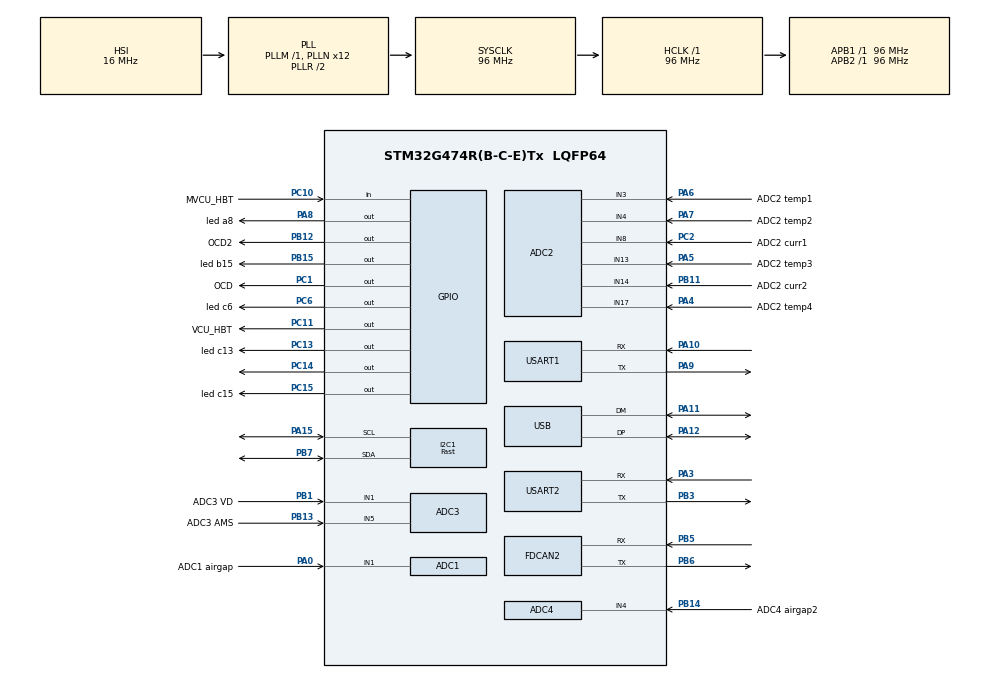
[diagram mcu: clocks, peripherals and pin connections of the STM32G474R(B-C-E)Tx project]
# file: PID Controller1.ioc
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ADC1.Channel-0\#ChannelRegularConversion=ADC_CHANNEL_1
ADC1.ClockPrescaler=ADC_CLOCK_ASYNC_DIV16
ADC1.ContinuousConvMode=ENABLE
ADC1.NbrOfConversion=1
ADC1.NbrOfConversionFlag=1
ADC1.OffsetNumber-0\#ChannelRegularConversion=ADC_OFFSET_NONE
ADC1.OversamplingMode=DISABLE
ADC1.Rank-0\#ChannelRegularConversion=1
ADC1.SamplingTime-0\#ChannelRegularConversion=ADC_SAMPLETIME_2CYCLES_5
ADC1.master=1
ADC2.Channel-0\#ChannelRegularConversion=ADC_CHANNEL_3
ADC2.Channel-1\#ChannelRegularConversion=ADC_CHANNEL_4
ADC2.Channel-2\#ChannelRegularConversion=ADC_CHANNEL_8
ADC2.Channel-3\#ChannelRegularConversion=ADC_CHANNEL_13
ADC2.Channel-4\#ChannelRegularConversion=ADC_CHANNEL_14
ADC2.Channel-5\#ChannelRegularConversion=ADC_CHANNEL_17
ADC2.ClockPrescaler=ADC_CLOCK_ASYNC_DIV16
ADC2.ContinuousConvMode=ENABLE
ADC2.NbrOfConversion=6
ADC2.NbrOfConversionFlag=1
ADC2.OffsetNumber-0\#ChannelRegularConversion=ADC_OFFSET_NONE
ADC2.OffsetNumber-1\#ChannelRegularConversion=ADC_OFFSET_NONE
ADC2.OffsetNumber-2\#ChannelRegularConversion=ADC_OFFSET_NONE
ADC2.OffsetNumber-3\#ChannelRegularConversion=ADC_OFFSET_NONE
ADC2.OffsetNumber-4\#ChannelRegularConversion=ADC_OFFSET_NONE
ADC2.OffsetNumber-5\#ChannelRegularConversion=ADC_OFFSET_NONE
ADC2.Rank-0\#ChannelRegularConversion=1
ADC2.Rank-1\#ChannelRegularConversion=2
ADC2.Rank-2\#ChannelRegularConversion=3
ADC2.Rank-3\#ChannelRegularConversion=4
ADC2.Rank-4\#ChannelRegularConversion=5
ADC2.Rank-5\#ChannelRegularConversion=6
ADC2.SamplingTime-0\#ChannelRegularConversion=ADC_SAMPLETIME_2CYCLES_5
ADC2.SamplingTime-1\#ChannelRegularConversion=ADC_SAMPLETIME_2CYCLES_5
ADC2.SamplingTime-2\#ChannelRegularConversion=ADC_SAMPLETIME_2CYCLES_5
ADC2.SamplingTime-3\#ChannelRegularConversion=ADC_SAMPLETIME_2CYCLES_5
ADC2.SamplingTime-4\#ChannelRegularConversion=ADC_SAMPLETIME_2CYCLES_5
ADC2.SamplingTime-5\#ChannelRegularConversion=ADC_SAMPLETIME_2CYCLES_5
ADC3.Channel-0\#ChannelRegularConversion=ADC_CHANNEL_5
ADC3.ContinuousConvMode=ENABLE
ADC3.NbrOfConversionFlag=1
ADC3.OffsetNumber-0\#ChannelRegularConversion=ADC_OFFSET_NONE
ADC3.Rank-0\#ChannelRegularConversion=1
ADC3.SamplingTime-0\#ChannelRegularConversion=ADC_SAMPLETIME_2CYCLES_5
ADC3.master=1
ADC4.Channel-0\#ChannelRegularConversion=ADC_CHANNEL_4
ADC4.NbrOfConversionFlag=1
ADC4.OffsetNumber-0\#ChannelRegularConversion=ADC_OFFSET_NONE
ADC4.Rank-0\#ChannelRegularConversion=1
ADC4.SamplingTime-0\#ChannelRegularConversion=ADC_SAMPLETIME_2CYCLES_5
FDCAN2.CalculateBaudRateNominal=1200000
FDCAN2.CalculateTimeBitNominal=833
FDCAN2.CalculateTimeQuantumNominal=166.66666666666666
FREERTOS.BinarySemaphores01=myBinarySem01,Dynamic,NULL,Available
FREERTOS.HEAP_NUMBER=5
FREERTOS.Tasks01=one,0,128,_one,Default,NULL,Dynamic,NULL,NULL;two2,0,128,two,Default,NULL,Dynamic,NULL,NULL;three3,-3,128,three,Default,NULL,Dynamic,NULL,NULL
FREERTOS.configTOTAL_HEAP_SIZE=5000
FREERTOS.configUSE_NEWLIB_REENTRANT=1
I2C1.I2C_Speed_Mode=I2C_Fast
I2C1.Timing=0x009032AE
Mcu.Family=STM32G4
Mcu.Name=STM32G474R(B-C-E)Tx
Mcu.Package=LQFP64
NVIC.PriorityGroup=NVIC_PRIORITYGROUP_4
NVIC.TIM1_UP_TIM16_IRQn=true\:15\:0\:false\:false\:true\:false\:false\:true\:true
NVIC.TIM2_IRQn=true\:5\:0\:false\:false\:true\:true\:true\:true\:true
NVIC.TimeBase=TIM1_UP_TIM16_IRQn
NVIC.TimeBaseIP=TIM1
NVIC.USART1_IRQn=true\:5\:0\:false\:false\:true\:true\:true\:true\:true
NVIC.USART2_IRQn=true\:5\:0\:false\:false\:true\:true\:true\:true\:true
PA0.GPIO_Label=ADC1 airgap
PA0.Mode=IN1-Single-Ended
PA0.Signal=ADC1_IN1
PA10.Mode=Asynchronous
PA10.Signal=USART1_RX
PA11.Mode=Device
PA11.Signal=USB_DM
PA12.Mode=Device
PA12.Signal=USB_DP
PA13.GPIO_Label=T_SWDIO
PA13.Mode=Serial_Wire
PA13.Signal=SYS_JTMS-SWDIO
PA14.GPIO_Label=T_SWCLK
PA14.Mode=Serial_Wire
PA14.Signal=SYS_JTCK-SWCLK
PA15.Mode=I2C
PA15.Signal=I2C1_SCL
PA3.Mode=Asynchronous
PA3.Signal=USART2_RX
PA4.GPIO_Label=ADC2 temp4
PA4.Mode=IN17-Single-Ended
PA4.Signal=ADC2_IN17
PA5.GPIO_Label=ADC2 temp3
PA5.Mode=IN13-Single-Ended
PA5.Signal=ADC2_IN13
PA6.GPIO_Label=ADC2 temp1
PA6.Mode=IN3-Single-Ended
PA6.Signal=ADC2_IN3
PA7.GPIO_Label=ADC2 temp2
PA7.Mode=IN4-Single-Ended
PA7.Signal=ADC2_IN4
PA8.GPIO_Label=led a8
PA8.Signal=GPIO_Output
PA9.Mode=Asynchronous
PA9.Signal=USART1_TX
PB1.GPIO_Label=ADC3 VD
PB1.Mode=IN1-Single-Ended
PB1.Signal=ADC3_IN1
PB11.GPIO_Label=ADC2 curr2
PB11.Mode=IN14-Single-Ended
PB11.Signal=ADC2_IN14
PB12.GPIO_Label=OCD2
PB12.Signal=GPIO_Output
PB13.GPIO_Label=ADC3 AMS
PB13.Mode=IN5-Single-Ended
PB13.Signal=ADC3_IN5
PB14.GPIO_Label=ADC4 airgap2
PB14.Mode=IN4-Single-Ended
PB14.Signal=ADC4_IN4
PB15.GPIO_Label=led b15
PB15.Signal=GPIO_Output
PB3.Mode=Asynchronous
PB3.Signal=USART2_TX
PB5.Mode=FDCAN_Activate
PB5.Signal=FDCAN2_RX
PB6.Mode=FDCAN_Activate
PB6.Signal=FDCAN2_TX
PB7.Mode=I2C
PB7.Signal=I2C1_SDA
PC1.GPIO_Label=OCD
PC1.Signal=GPIO_Output
PC10.GPIO_Label=MVCU_HBT
PC10.Signal=GPIO_Input
PC11.GPIO_Label=VCU_HBT
PC11.Signal=GPIO_Output
PC13.GPIO_Label=led c13
PC13.Signal=GPIO_Output
PC14-OSC32_IN.Signal=GPIO_Output
PC15-OSC32_OUT.GPIO_Label=led c15
PC15-OSC32_OUT.Signal=GPIO_Output
PC2.GPIO_Label=ADC2 curr1
PC2.Mode=IN8-Single-Ended
PC2.Signal=ADC2_IN8
PC6.GPIO_Label=led c6
PC6.Signal=GPIO_Output
PF0-OSC_IN.Mode=HSE-External-Oscillator
PF0-OSC_IN.Signal=RCC_OSC_IN
PF1-OSC_OUT.Mode=HSE-External-Oscillator
PF1-OSC_OUT.Signal=RCC_OSC_OUT
ProjectManager.HeapSize=0x200
ProjectManager.StackSize=0x400
ProjectManager.TargetToolchain=STM32CubeIDE
RCC.ADC12Freq_Value=96000000
RCC.ADC345Freq_Value=96000000
RCC.AHBFreq_Value=96000000
RCC.APB1Freq_Value=96000000
RCC.APB1TimFreq_Value=96000000
RCC.APB2Freq_Value=96000000
RCC.APB2TimFreq_Value=96000000
RCC.CortexFreq_Value=96000000
RCC.EXTERNAL_CLOCK_VALUE=12288000
RCC.HCLKFreq_Value=96000000
RCC.HSE_VALUE=24000000
RCC.HSI48_VALUE=48000000
RCC.HSI_VALUE=16000000
RCC.LSE_VALUE=32768
RCC.PLLN=12
RCC.PLLQ=RCC_PLLQ_DIV4
RCC.RTCClockSelection=RCC_RTCCLKSOURCE_LSE
RCC.SYSCLKFreq_VALUE=96000000
RCC.SYSCLKSource=RCC_SYSCLKSOURCE_PLLCLK
RCC.USBFreq_Value=48000000
RCC.VCOOutputFreq_Value=192000000
TIM2.Channel-Output\ Compare1\ No\ Output=TIM_CHANNEL_1
TIM2.PeriodNoDither=999
TIM2.Prescaler=95
USART1.VirtualMode-Asynchronous=VM_ASYNC
USART2.VirtualMode-Asynchronous=VM_ASYNC
VP_FREERTOS_VS_CMSIS_V1.Mode=CMSIS_V1
VP_SYS_VS_DBSignals.Mode=DisableDeadBatterySignals
VP_SYS_VS_tim1.Mode=TIM1
VP_TIM2_VS_ClockSourceINT.Mode=Internal
VP_TIM2_VS_no_output1.Mode=Output Compare1 No Output
board=NUCLEO-G474RE

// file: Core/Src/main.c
/* USER CODE BEGIN Header */
/* USER CODE END Header */
#include "main.h"
#include "cmsis_os.h"

/* USER CODE BEGIN Includes */
#include <stdio.h>
#include <string.h>
#include <stdlib.h>
#include <math.h>
/* USER CODE END Includes */

/* USER CODE BEGIN PD */
#define beta_val 4304.05
#define Vin 3.30
#define Rs 20000.00
#define R25 32762.00
#define KP 408 // Proportional gain
#define KI 10  // Integral gain
#define KD 0.1 // Derivative gain
#define N 20 //Filter Coefficient
#define Ts 0.001
#define tau 01
#define INTEGRAL_MIN 0.0
#define INTEGRAL_MAX 4
/* USER CODE END PD */

ADC_HandleTypeDef hadc1;
ADC_HandleTypeDef hadc2;
ADC_HandleTypeDef hadc3;
ADC_HandleTypeDef hadc4;

FDCAN_HandleTypeDef hfdcan2;

I2C_HandleTypeDef hi2c1;

TIM_HandleTypeDef htim2;

UART_HandleTypeDef huart1;
UART_HandleTypeDef huart2;

PCD_HandleTypeDef hpcd_USB_FS;

osThreadId oneHandle;
osThreadId two2Handle;
osThreadId three3Handle;
osSemaphoreId myBinarySem01Handle;
/* USER CODE BEGIN PV */
char con_sig[5];
uint16_t ADC_VAL[3];
int adcChannelCount = sizeof(ADC_VAL) / sizeof(ADC_VAL[0]);
int adcConversionComplete = 0;
float control_signal;
int c;
float integral, filtered_derivative;
float prev_derivative = 1.0;
float dist1, Iout, Vout;
float Airgap = 0.02;
float airgap;
float dist, error,prev_error;
int adc_val0, adc_val1, adc_val2;
float Vout,Vout1,Vout2;
float Rt, Rt1, Rt2;
float temp_lc, temp_rc, temp_cc;
int sum;
int a;
float prop,inte,der;
uint64_t totalIterations = 0, iterationsLast = 0;
int n = 0, iterationsPerSecond = 0;
float prev_distance, newairgap, derivative;
float reference_distance = 0.010;
/* USER CODE END PV */

void SystemClock_Config(void);
static void MX_GPIO_Init(void);
static void MX_USB_PCD_Init(void);
static void MX_I2C1_Init(void);
static void MX_USART1_UART_Init(void);
static void MX_ADC1_Init(void);
static void MX_ADC2_Init(void);
static void MX_TIM2_Init(void);
static void MX_ADC3_Init(void);
static void MX_USART2_UART_Init(void);
static void MX_FDCAN2_Init(void);
static void MX_ADC4_Init(void);
void _one(void const * argument);
void two(void const * argument);
void three(void const * argument);

/* USER CODE BEGIN PFP */
int _write(int file, char *ptr, int len) {
	int i = 0;
	for (i = 0; i < len; i++)
		ITM_SendChar((*ptr++));
	return len;
}

float laser_distance() {
	if(HAL_ADC_Start(&hadc1) != HAL_OK)
		if (HAL_ADC_PollForConversion(&hadc1,100) != HAL_OK) {
			  HAL_GPIO_TogglePin(GPIOC,GPIO_PIN_14);
			  HAL_Delay(500);
			  }
	adc_val0= HAL_ADC_GetValue(&hadc1);
	HAL_ADC_Stop(&hadc1);
	 Vout = adc_val0*(3.3/4095.00);
	 Iout = (Vout/115.16)*1000;
	 dist = ((Iout - 4)/16)*50;
	 dist -= 18.4;
	 airgap = dist;
	 dist /= 1000;

	//dist = (HAL_ADC_GetValue(&hadc1) / 724878.0596536586) - 0.035;
	return dist;
}

void actuator() {
	if (HAL_UART_Transmit_IT(&huart1, (uint8_t*)con_sig, 5) != HAL_OK) {
		HAL_GPIO_TogglePin(GPIOC, GPIO_PIN_14);
	}
}

void coil_temp() {
	  sum = 0;

	  for(a = 0;a<201;a++)
	  {
		  adc_val1= HAL_ADC_GetValue(&hadc2)/16;
		  sum += adc_val1;
	  }
	  sum /= 200;
	  Vout1 = sum *(5.0/4095.00);
	  Rt = (Vout1 * Rs) / (Vin - Vout1);
	  //temp_lc = (1/((1/298.15)+(log(Rt/R25)/beta_val)) - 273.15);
	  temp_lc = 373.0 / (1.0 - ((log(1800.0 / Rt) * 373.0) / 4300.0)) - 273.13;
}

void integrator() {
    // Accumulate error over time
    integral += error * Ts;
    if (integral < INTEGRAL_MIN) {
            integral = INTEGRAL_MIN;
        }
        else if (integral > 0.75) {
            integral = 0.75;
        }
   }
void filter_derivative(float error, float prev_error) {
    // Apply first-order exponential moving average filter
    //filtered_derivative = ALPHA * derivative + (1 - ALPHA) * previous_derivative;
	//filtered_derivative = derivative*((Ts*ALPHA)/(Ts+ALPHA));
	/*if (error>=0) {
	filtered_derivative = - fabs((2.0 * KD * (error-prev_error)) + (2.0*(tau-Ts)*filtered_derivative) / (2.0 * (tau + Ts)));
	}
	else {
		filtered_derivative = fabs((2.0 * KD * (error-prev_error)) + (2.0*(tau-Ts)*filtered_derivative) / (2.0 * (tau + Ts)));
	}*/

	prev_derivative = filtered_derivative;

	if (error>=0) {
		filtered_derivative = -fabs((error - prev_error)/Ts);
	}
	else {
		filtered_derivative = fabs((error - prev_error)/Ts);
	}
}

float computePID() {
	prop = KP * error;
    inte = KI * integral;
	der = KD * (N * filtered_derivative + (1-N) * prev_derivative);

    if (inte < INTEGRAL_MIN) {
            inte = INTEGRAL_MIN;
        }
        else if (inte > INTEGRAL_MAX ) {
            inte = INTEGRAL_MAX;
        }
	return prop + inte + der;
}
/* USER CODE END PFP */

int main(void)
{

  /* MCU Configuration--------------------------------------------------------*/

  /* Reset of all peripherals, Initializes the Flash interface and the Systick. */
  HAL_Init();

  /* Configure the system clock */
  SystemClock_Config();

  /* Initialize all configured peripherals */
  MX_GPIO_Init();
  MX_USB_PCD_Init();
  MX_I2C1_Init();
  MX_USART1_UART_Init();
  MX_ADC1_Init();
  MX_ADC2_Init();
  MX_TIM2_Init();
  MX_ADC3_Init();
  MX_USART2_UART_Init();
  MX_FDCAN2_Init();
  MX_ADC4_Init();

  /* Create the semaphores(s) */
  /* definition and creation of myBinarySem01 */
  osSemaphoreDef(myBinarySem01);
  myBinarySem01Handle = osSemaphoreCreate(osSemaphore(myBinarySem01), 1);

  /* Create the thread(s) */
  /* definition and creation of one */
  osThreadDef(one, _one, osPriorityNormal, 0, 128);
  oneHandle = osThreadCreate(osThread(one), NULL);

  /* definition and creation of two2 */
  osThreadDef(two2, two, osPriorityNormal, 0, 128);
  two2Handle = osThreadCreate(osThread(two2), NULL);

  /* definition and creation of three3 */
  osThreadDef(three3, three, osPriorityIdle, 0, 128);
  three3Handle = osThreadCreate(osThread(three3), NULL);

  /* Start scheduler */
  osKernelStart();

  /* We should never get here as control is now taken by the scheduler */

  /* Infinite loop */

}

void SystemClock_Config(void)
{
  RCC_OscInitTypeDef RCC_OscInitStruct = {0};
  RCC_ClkInitTypeDef RCC_ClkInitStruct = {0};

  /** Configure the main internal regulator output voltage
  */
  HAL_PWREx_ControlVoltageScaling(PWR_REGULATOR_VOLTAGE_SCALE1);

  /** Initializes the RCC Oscillators according to the specified parameters
  * in the RCC_OscInitTypeDef structure.
  */
  RCC_OscInitStruct.OscillatorType = RCC_OSCILLATORTYPE_HSI;
  RCC_OscInitStruct.HSIState = RCC_HSI_ON;
  RCC_OscInitStruct.HSICalibrationValue = RCC_HSICALIBRATION_DEFAULT;
  RCC_OscInitStruct.PLL.PLLState = RCC_PLL_ON;
  RCC_OscInitStruct.PLL.PLLSource = RCC_PLLSOURCE_HSI;
  RCC_OscInitStruct.PLL.PLLM = RCC_PLLM_DIV1;
  RCC_OscInitStruct.PLL.PLLN = 12;
  RCC_OscInitStruct.PLL.PLLP = RCC_PLLP_DIV2;
  RCC_OscInitStruct.PLL.PLLQ = RCC_PLLQ_DIV4;
  RCC_OscInitStruct.PLL.PLLR = RCC_PLLR_DIV2;
  if (HAL_RCC_OscConfig(&RCC_OscInitStruct) != HAL_OK)
  {
    Error_Handler();
  }

  /** Initializes the CPU, AHB and APB buses clocks
  */
  RCC_ClkInitStruct.ClockType = RCC_CLOCKTYPE_HCLK|RCC_CLOCKTYPE_SYSCLK
                              |RCC_CLOCKTYPE_PCLK1|RCC_CLOCKTYPE_PCLK2;
  RCC_ClkInitStruct.SYSCLKSource = RCC_SYSCLKSOURCE_PLLCLK;
  RCC_ClkInitStruct.AHBCLKDivider = RCC_SYSCLK_DIV1;
  RCC_ClkInitStruct.APB1CLKDivider = RCC_HCLK_DIV1;
  RCC_ClkInitStruct.APB2CLKDivider = RCC_HCLK_DIV1;

  if (HAL_RCC_ClockConfig(&RCC_ClkInitStruct, FLASH_LATENCY_3) != HAL_OK)
  {
    Error_Handler();
  }
}

static void MX_ADC1_Init(void)
{

  ADC_MultiModeTypeDef multimode = {0};
  ADC_ChannelConfTypeDef sConfig = {0};

  /** Common config
  */
  hadc1.Instance = ADC1;
  hadc1.Init.ClockPrescaler = ADC_CLOCK_ASYNC_DIV16;
  hadc1.Init.Resolution = ADC_RESOLUTION_12B;
  hadc1.Init.DataAlign = ADC_DATAALIGN_RIGHT;
  hadc1.Init.GainCompensation = 0;
  hadc1.Init.ScanConvMode = ADC_SCAN_DISABLE;
  hadc1.Init.EOCSelection = ADC_EOC_SINGLE_CONV;
  hadc1.Init.LowPowerAutoWait = DISABLE;
  hadc1.Init.ContinuousConvMode = ENABLE;
  hadc1.Init.NbrOfConversion = 1;
  hadc1.Init.DiscontinuousConvMode = DISABLE;
  hadc1.Init.ExternalTrigConv = ADC_SOFTWARE_START;
  hadc1.Init.ExternalTrigConvEdge = ADC_EXTERNALTRIGCONVEDGE_NONE;
  hadc1.Init.DMAContinuousRequests = DISABLE;
  hadc1.Init.Overrun = ADC_OVR_DATA_PRESERVED;
  hadc1.Init.OversamplingMode = DISABLE;
  if (HAL_ADC_Init(&hadc1) != HAL_OK)
  {
    Error_Handler();
  }

  /** Configure the ADC multi-mode
  */
  multimode.Mode = ADC_MODE_INDEPENDENT;
  if (HAL_ADCEx_MultiModeConfigChannel(&hadc1, &multimode) != HAL_OK)
  {
    Error_Handler();
  }

  /** Configure Regular Channel
  */
  sConfig.Channel = ADC_CHANNEL_1;
  sConfig.Rank = ADC_REGULAR_RANK_1;
  sConfig.SamplingTime = ADC_SAMPLETIME_2CYCLES_5;
  sConfig.SingleDiff = ADC_SINGLE_ENDED;
  sConfig.OffsetNumber = ADC_OFFSET_NONE;
  sConfig.Offset = 0;
  if (HAL_ADC_ConfigChannel(&hadc1, &sConfig) != HAL_OK)
  {
    Error_Handler();
  }

}

static void MX_ADC2_Init(void)
{

  ADC_ChannelConfTypeDef sConfig = {0};

  /** Common config
  */
  hadc2.Instance = ADC2;
  hadc2.Init.ClockPrescaler = ADC_CLOCK_ASYNC_DIV16;
  hadc2.Init.Resolution = ADC_RESOLUTION_12B;
  hadc2.Init.DataAlign = ADC_DATAALIGN_RIGHT;
  hadc2.Init.GainCompensation = 0;
  hadc2.Init.ScanConvMode = ADC_SCAN_ENABLE;
  hadc2.Init.EOCSelection = ADC_EOC_SINGLE_CONV;
  hadc2.Init.LowPowerAutoWait = DISABLE;
  hadc2.Init.ContinuousConvMode = ENABLE;
  hadc2.Init.NbrOfConversion = 6;
  hadc2.Init.DiscontinuousConvMode = DISABLE;
  hadc2.Init.ExternalTrigConv = ADC_SOFTWARE_START;
  hadc2.Init.ExternalTrigConvEdge = ADC_EXTERNALTRIGCONVEDGE_NONE;
  hadc2.Init.DMAContinuousRequests = DISABLE;
  hadc2.Init.Overrun = ADC_OVR_DATA_PRESERVED;
  hadc2.Init.OversamplingMode = DISABLE;
  if (HAL_ADC_Init(&hadc2) != HAL_OK)
  {
    Error_Handler();
  }

  /** Configure Regular Channel
  */
  sConfig.Channel = ADC_CHANNEL_3;
  sConfig.Rank = ADC_REGULAR_RANK_1;
  sConfig.SamplingTime = ADC_SAMPLETIME_2CYCLES_5;
  sConfig.SingleDiff = ADC_SINGLE_ENDED;
  sConfig.OffsetNumber = ADC_OFFSET_NONE;
  sConfig.Offset = 0;
  if (HAL_ADC_ConfigChannel(&hadc2, &sConfig) != HAL_OK)
  {
    Error_Handler();
  }

  /** Configure Regular Channel
  */
  sConfig.Channel = ADC_CHANNEL_4;
  sConfig.Rank = ADC_REGULAR_RANK_2;
  if (HAL_ADC_ConfigChannel(&hadc2, &sConfig) != HAL_OK)
  {
    Error_Handler();
  }

  /** Configure Regular Channel
  */
  sConfig.Channel = ADC_CHANNEL_8;
  sConfig.Rank = ADC_REGULAR_RANK_3;
  if (HAL_ADC_ConfigChannel(&hadc2, &sConfig) != HAL_OK)
  {
    Error_Handler();
  }

  /** Configure Regular Channel
  */
  sConfig.Channel = ADC_CHANNEL_13;
  sConfig.Rank = ADC_REGULAR_RANK_4;
  if (HAL_ADC_ConfigChannel(&hadc2, &sConfig) != HAL_OK)
  {
    Error_Handler();
  }

  /** Configure Regular Channel
  */
  sConfig.Channel = ADC_CHANNEL_14;
  sConfig.Rank = ADC_REGULAR_RANK_5;
  if (HAL_ADC_ConfigChannel(&hadc2, &sConfig) != HAL_OK)
  {
    Error_Handler();
  }

  /** Configure Regular Channel
  */
  sConfig.Channel = ADC_CHANNEL_17;
  sConfig.Rank = ADC_REGULAR_RANK_6;
  if (HAL_ADC_ConfigChannel(&hadc2, &sConfig) != HAL_OK)
  {
    Error_Handler();
  }

}

static void MX_ADC3_Init(void)
{

  ADC_MultiModeTypeDef multimode = {0};
  ADC_ChannelConfTypeDef sConfig = {0};

  /** Common config
  */
  hadc3.Instance = ADC3;
  hadc3.Init.ClockPrescaler = ADC_CLOCK_SYNC_PCLK_DIV2;
  hadc3.Init.Resolution = ADC_RESOLUTION_12B;
  hadc3.Init.DataAlign = ADC_DATAALIGN_RIGHT;
  hadc3.Init.GainCompensation = 0;
  hadc3.Init.ScanConvMode = ADC_SCAN_DISABLE;
  hadc3.Init.EOCSelection = ADC_EOC_SINGLE_CONV;
  hadc3.Init.LowPowerAutoWait = DISABLE;
  hadc3.Init.ContinuousConvMode = ENABLE;
  hadc3.Init.NbrOfConversion = 1;
  hadc3.Init.DiscontinuousConvMode = DISABLE;
  hadc3.Init.ExternalTrigConv = ADC_SOFTWARE_START;
  hadc3.Init.ExternalTrigConvEdge = ADC_EXTERNALTRIGCONVEDGE_NONE;
  hadc3.Init.DMAContinuousRequests = DISABLE;
  hadc3.Init.Overrun = ADC_OVR_DATA_PRESERVED;
  hadc3.Init.OversamplingMode = DISABLE;
  if (HAL_ADC_Init(&hadc3) != HAL_OK)
  {
    Error_Handler();
  }

  /** Configure the ADC multi-mode
  */
  multimode.Mode = ADC_MODE_INDEPENDENT;
  if (HAL_ADCEx_MultiModeConfigChannel(&hadc3, &multimode) != HAL_OK)
  {
    Error_Handler();
  }

  /** Configure Regular Channel
  */
  sConfig.Channel = ADC_CHANNEL_5;
  sConfig.Rank = ADC_REGULAR_RANK_1;
  sConfig.SamplingTime = ADC_SAMPLETIME_2CYCLES_5;
  sConfig.SingleDiff = ADC_SINGLE_ENDED;
  sConfig.OffsetNumber = ADC_OFFSET_NONE;
  sConfig.Offset = 0;
  if (HAL_ADC_ConfigChannel(&hadc3, &sConfig) != HAL_OK)
  {
    Error_Handler();
  }

}

static void MX_ADC4_Init(void)
{

  ADC_ChannelConfTypeDef sConfig = {0};

  /** Common config
  */
  hadc4.Instance = ADC4;
  hadc4.Init.ClockPrescaler = ADC_CLOCK_SYNC_PCLK_DIV2;
  hadc4.Init.Resolution = ADC_RESOLUTION_12B;
  hadc4.Init.DataAlign = ADC_DATAALIGN_RIGHT;
  hadc4.Init.GainCompensation = 0;
  hadc4.Init.ScanConvMode = ADC_SCAN_DISABLE;
  hadc4.Init.EOCSelection = ADC_EOC_SINGLE_CONV;
  hadc4.Init.LowPowerAutoWait = DISABLE;
  hadc4.Init.ContinuousConvMode = DISABLE;
  hadc4.Init.NbrOfConversion = 1;
  hadc4.Init.DiscontinuousConvMode = DISABLE;
  hadc4.Init.ExternalTrigConv = ADC_SOFTWARE_START;
  hadc4.Init.ExternalTrigConvEdge = ADC_EXTERNALTRIGCONVEDGE_NONE;
  hadc4.Init.DMAContinuousRequests = DISABLE;
  hadc4.Init.Overrun = ADC_OVR_DATA_PRESERVED;
  hadc4.Init.OversamplingMode = DISABLE;
  if (HAL_ADC_Init(&hadc4) != HAL_OK)
  {
    Error_Handler();
  }

  /** Configure Regular Channel
  */
  sConfig.Channel = ADC_CHANNEL_4;
  sConfig.Rank = ADC_REGULAR_RANK_1;
  sConfig.SamplingTime = ADC_SAMPLETIME_2CYCLES_5;
  sConfig.SingleDiff = ADC_SINGLE_ENDED;
  sConfig.OffsetNumber = ADC_OFFSET_NONE;
  sConfig.Offset = 0;
  if (HAL_ADC_ConfigChannel(&hadc4, &sConfig) != HAL_OK)
  {
    Error_Handler();
  }

}

static void MX_FDCAN2_Init(void)
{

  hfdcan2.Instance = FDCAN2;
  hfdcan2.Init.ClockDivider = FDCAN_CLOCK_DIV1;
  hfdcan2.Init.FrameFormat = FDCAN_FRAME_CLASSIC;
  hfdcan2.Init.Mode = FDCAN_MODE_NORMAL;
  hfdcan2.Init.AutoRetransmission = DISABLE;
  hfdcan2.Init.TransmitPause = DISABLE;
  hfdcan2.Init.ProtocolException = DISABLE;
  hfdcan2.Init.NominalPrescaler = 16;
  hfdcan2.Init.NominalSyncJumpWidth = 1;
  hfdcan2.Init.NominalTimeSeg1 = 2;
  hfdcan2.Init.NominalTimeSeg2 = 2;
  hfdcan2.Init.DataPrescaler = 1;
  hfdcan2.Init.DataSyncJumpWidth = 1;
  hfdcan2.Init.DataTimeSeg1 = 1;
  hfdcan2.Init.DataTimeSeg2 = 1;
  hfdcan2.Init.StdFiltersNbr = 0;
  hfdcan2.Init.ExtFiltersNbr = 0;
  hfdcan2.Init.TxFifoQueueMode = FDCAN_TX_FIFO_OPERATION;
  if (HAL_FDCAN_Init(&hfdcan2) != HAL_OK)
  {
    Error_Handler();
  }

}

static void MX_I2C1_Init(void)
{

  hi2c1.Instance = I2C1;
  hi2c1.Init.Timing = 0x009032AE;
  hi2c1.Init.OwnAddress1 = 0;
  hi2c1.Init.AddressingMode = I2C_ADDRESSINGMODE_7BIT;
  hi2c1.Init.DualAddressMode = I2C_DUALADDRESS_DISABLE;
  hi2c1.Init.OwnAddress2 = 0;
  hi2c1.Init.OwnAddress2Masks = I2C_OA2_NOMASK;
  hi2c1.Init.GeneralCallMode = I2C_GENERALCALL_DISABLE;
  hi2c1.Init.NoStretchMode = I2C_NOSTRETCH_DISABLE;
  if (HAL_I2C_Init(&hi2c1) != HAL_OK)
  {
    Error_Handler();
  }

  /** Configure Analogue filter
  */
  if (HAL_I2CEx_ConfigAnalogFilter(&hi2c1, I2C_ANALOGFILTER_ENABLE) != HAL_OK)
  {
    Error_Handler();
  }

  /** Configure Digital filter
  */
  if (HAL_I2CEx_ConfigDigitalFilter(&hi2c1, 0) != HAL_OK)
  {
    Error_Handler();
  }

}

static void MX_TIM2_Init(void)
{

  TIM_ClockConfigTypeDef sClockSourceConfig = {0};
  TIM_MasterConfigTypeDef sMasterConfig = {0};
  TIM_OC_InitTypeDef sConfigOC = {0};

  htim2.Instance = TIM2;
  htim2.Init.Prescaler = 95;
  htim2.Init.CounterMode = TIM_COUNTERMODE_UP;
  htim2.Init.Period = 999;
  htim2.Init.ClockDivision = TIM_CLOCKDIVISION_DIV1;
  htim2.Init.AutoReloadPreload = TIM_AUTORELOAD_PRELOAD_DISABLE;
  if (HAL_TIM_Base_Init(&htim2) != HAL_OK)
  {
    Error_Handler();
  }
  sClockSourceConfig.ClockSource = TIM_CLOCKSOURCE_INTERNAL;
  if (HAL_TIM_ConfigClockSource(&htim2, &sClockSourceConfig) != HAL_OK)
  {
    Error_Handler();
  }
  if (HAL_TIM_OC_Init(&htim2) != HAL_OK)
  {
    Error_Handler();
  }
  sMasterConfig.MasterOutputTrigger = TIM_TRGO_RESET;
  sMasterConfig.MasterSlaveMode = TIM_MASTERSLAVEMODE_DISABLE;
  if (HAL_TIMEx_MasterConfigSynchronization(&htim2, &sMasterConfig) != HAL_OK)
  {
    Error_Handler();
  }
  sConfigOC.OCMode = TIM_OCMODE_TIMING;
  sConfigOC.Pulse = 0;
  sConfigOC.OCPolarity = TIM_OCPOLARITY_HIGH;
  sConfigOC.OCFastMode = TIM_OCFAST_DISABLE;
  if (HAL_TIM_OC_ConfigChannel(&htim2, &sConfigOC, TIM_CHANNEL_1) != HAL_OK)
  {
    Error_Handler();
  }

}

static void MX_USART1_UART_Init(void)
{

  huart1.Instance = USART1;
  huart1.Init.BaudRate = 115200;
  huart1.Init.WordLength = UART_WORDLENGTH_8B;
  huart1.Init.StopBits = UART_STOPBITS_1;
  huart1.Init.Parity = UART_PARITY_NONE;
  huart1.Init.Mode = UART_MODE_TX_RX;
  huart1.Init.HwFlowCtl = UART_HWCONTROL_NONE;
  huart1.Init.OverSampling = UART_OVERSAMPLING_16;
  huart1.Init.OneBitSampling = UART_ONE_BIT_SAMPLE_DISABLE;
  huart1.Init.ClockPrescaler = UART_PRESCALER_DIV1;
  huart1.AdvancedInit.AdvFeatureInit = UART_ADVFEATURE_NO_INIT;
  if (HAL_UART_Init(&huart1) != HAL_OK)
  {
    Error_Handler();
  }
  if (HAL_UARTEx_SetTxFifoThreshold(&huart1, UART_TXFIFO_THRESHOLD_1_8) != HAL_OK)
  {
    Error_Handler();
  }
  if (HAL_UARTEx_SetRxFifoThreshold(&huart1, UART_RXFIFO_THRESHOLD_1_8) != HAL_OK)
  {
    Error_Handler();
  }
  if (HAL_UARTEx_DisableFifoMode(&huart1) != HAL_OK)
  {
    Error_Handler();
  }

}

static void MX_USART2_UART_Init(void)
{

  huart2.Instance = USART2;
  huart2.Init.BaudRate = 115200;
  huart2.Init.WordLength = UART_WORDLENGTH_8B;
  huart2.Init.StopBits = UART_STOPBITS_1;
  huart2.Init.Parity = UART_PARITY_NONE;
  huart2.Init.Mode = UART_MODE_TX_RX;
  huart2.Init.HwFlowCtl = UART_HWCONTROL_NONE;
  huart2.Init.OverSampling = UART_OVERSAMPLING_16;
  huart2.Init.OneBitSampling = UART_ONE_BIT_SAMPLE_DISABLE;
  huart2.Init.ClockPrescaler = UART_PRESCALER_DIV1;
  huart2.AdvancedInit.AdvFeatureInit = UART_ADVFEATURE_NO_INIT;
  if (HAL_UART_Init(&huart2) != HAL_OK)
  {
    Error_Handler();
  }
  if (HAL_UARTEx_SetTxFifoThreshold(&huart2, UART_TXFIFO_THRESHOLD_1_8) != HAL_OK)
  {
    Error_Handler();
  }
  if (HAL_UARTEx_SetRxFifoThreshold(&huart2, UART_RXFIFO_THRESHOLD_1_8) != HAL_OK)
  {
    Error_Handler();
  }
  if (HAL_UARTEx_DisableFifoMode(&huart2) != HAL_OK)
  {
    Error_Handler();
  }

}

static void MX_USB_PCD_Init(void)
{

  hpcd_USB_FS.Instance = USB;
  hpcd_USB_FS.Init.dev_endpoints = 8;
  hpcd_USB_FS.Init.speed = PCD_SPEED_FULL;
  hpcd_USB_FS.Init.phy_itface = PCD_PHY_EMBEDDED;
  hpcd_USB_FS.Init.Sof_enable = DISABLE;
  hpcd_USB_FS.Init.low_power_enable = DISABLE;
  hpcd_USB_FS.Init.lpm_enable = DISABLE;
  hpcd_USB_FS.Init.battery_charging_enable = DISABLE;
  if (HAL_PCD_Init(&hpcd_USB_FS) != HAL_OK)
  {
    Error_Handler();
  }

}

static void MX_GPIO_Init(void)
{
  GPIO_InitTypeDef GPIO_InitStruct = {0};

  /* GPIO Ports Clock Enable */
  __HAL_RCC_GPIOC_CLK_ENABLE();
  __HAL_RCC_GPIOF_CLK_ENABLE();
  __HAL_RCC_GPIOA_CLK_ENABLE();
  __HAL_RCC_GPIOB_CLK_ENABLE();

  /*Configure GPIO pin Output Level */
  HAL_GPIO_WritePin(GPIOC, led_c13_Pin|GPIO_PIN_14|led_c15_Pin|OCD_Pin
                          |led_c6_Pin|VCU_HBT_Pin, GPIO_PIN_RESET);

  /*Configure GPIO pin Output Level */
  HAL_GPIO_WritePin(GPIOB, OCD2_Pin|led_b15_Pin, GPIO_PIN_RESET);

  /*Configure GPIO pin Output Level */
  HAL_GPIO_WritePin(led_a8_GPIO_Port, led_a8_Pin, GPIO_PIN_RESET);

  /*Configure GPIO pins : led_c13_Pin PC14 led_c15_Pin OCD_Pin
                           led_c6_Pin VCU_HBT_Pin */
  GPIO_InitStruct.Pin = led_c13_Pin|GPIO_PIN_14|led_c15_Pin|OCD_Pin
                          |led_c6_Pin|VCU_HBT_Pin;
  GPIO_InitStruct.Mode = GPIO_MODE_OUTPUT_PP;
  GPIO_InitStruct.Pull = GPIO_NOPULL;
  GPIO_InitStruct.Speed = GPIO_SPEED_FREQ_LOW;
  HAL_GPIO_Init(GPIOC, &GPIO_InitStruct);

  /*Configure GPIO pins : OCD2_Pin led_b15_Pin */
  GPIO_InitStruct.Pin = OCD2_Pin|led_b15_Pin;
  GPIO_InitStruct.Mode = GPIO_MODE_OUTPUT_PP;
  GPIO_InitStruct.Pull = GPIO_NOPULL;
  GPIO_InitStruct.Speed = GPIO_SPEED_FREQ_LOW;
  HAL_GPIO_Init(GPIOB, &GPIO_InitStruct);

  /*Configure GPIO pin : led_a8_Pin */
  GPIO_InitStruct.Pin = led_a8_Pin;
  GPIO_InitStruct.Mode = GPIO_MODE_OUTPUT_PP;
  GPIO_InitStruct.Pull = GPIO_NOPULL;
  GPIO_InitStruct.Speed = GPIO_SPEED_FREQ_LOW;
  HAL_GPIO_Init(led_a8_GPIO_Port, &GPIO_InitStruct);

  /*Configure GPIO pin : MVCU_HBT_Pin */
  GPIO_InitStruct.Pin = MVCU_HBT_Pin;
  GPIO_InitStruct.Mode = GPIO_MODE_INPUT;
  GPIO_InitStruct.Pull = GPIO_NOPULL;
  HAL_GPIO_Init(MVCU_HBT_GPIO_Port, &GPIO_InitStruct);

}

void _one(void const * argument)
{
  /* USER CODE BEGIN 5 */
	for(;;){

		Airgap = laser_distance();
		error = Airgap - reference_distance;
    	derivative = error;
			  //coil_temp();
		filter_derivative(derivative, prev_error);

		control_signal = computePID(error,integral,filtered_derivative) * 1000;
			  //control_signal += 6000.0;

			  /*if (control_signal < 0.0) {
				  control_signal = 0.0;
			  }*/
		prev_error = error;
		prev_distance = Airgap;
			  //HAL_GPIO_TogglePin(GPIOC,GPIO_PIN_14);
			  //HAL_Delay(1);
		osSemaphoreRelease(myBinarySem01Handle);
	}
  /* USER CODE END 5 */
}

void two(void const * argument)
{
  /* USER CODE BEGIN two */
	for(;;){
	if (osSemaphoreWait(myBinarySem01Handle, osWaitForever) == osOK){
	integrator();
	snprintf(con_sig, sizeof(con_sig), "%d", ((int) control_signal));
	actuator(con_sig);
	c++;
	}
	}
  /* USER CODE END two */
}

void three(void const * argument)
{
}

void HAL_TIM_PeriodElapsedCallback(TIM_HandleTypeDef *htim)
{
  if (htim->Instance == TIM1) {
    HAL_IncTick();
  }
}

void Error_Handler(void)
{
}
